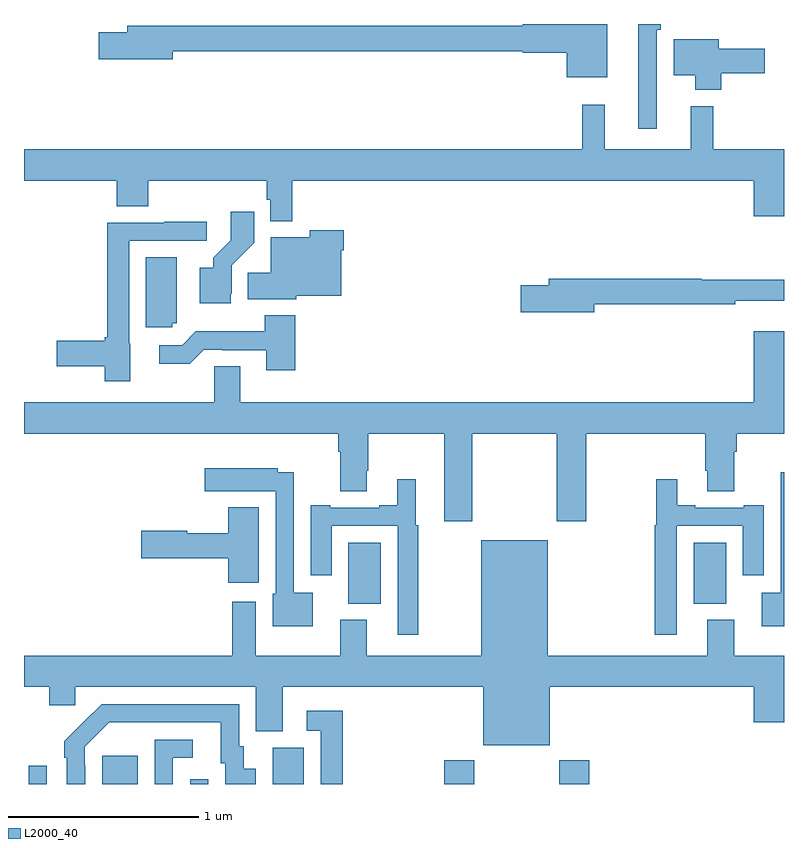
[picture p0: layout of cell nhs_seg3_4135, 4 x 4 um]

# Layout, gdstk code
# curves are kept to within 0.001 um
import gdstk
lib = gdstk.Library(unit=1e-6, precision=1e-09)
def R(c, l, rs):  # rectangles x0, y0, x1, y1
    for r in rs: c.add(gdstk.rectangle(r[:2], r[2:], *l))
def P(c, l, *ps):  # polygons
    for p in ps: c.add(gdstk.Polygon(p, *l))
L2000_40 = (2000, 40)

nhs_seg3_4135 = lib.new_cell('nhs_seg3_4135')
R(nhs_seg3_4135, L2000_40, [(329.025,704.4,329.121,704.497), (329.411,704.4,329.599,704.548), (329.874,704.4,329.97,704.425), (330.308,704.4,330.472,704.592), (331.211,704.4,331.371,704.524), (331.816,704.4,331.976,704.524), (330.707,705.35,330.877,705.67), (332.525,705.35,332.695,705.67)])
P(nhs_seg3_4135, L2000_40, [(332.071,708.4),(331.626,708.4),(331.626,708.392),(329.543,708.392),(329.543,708.356),(329.394,708.356),(329.394,708.214),(329.782,708.214),(329.782,708.256),(331.626,708.256),(331.626,708.248),(331.856,708.248),(331.856,708.119),(332.071,708.119)],
  [(332.331,708.371),(332.351,708.371),(332.351,708.4),(332.234,708.4),(332.234,707.85),(332.331,707.85)],
  [(332.669,708.142),(332.899,708.142),(332.899,708.271),(332.656,708.271),(332.656,708.319),(332.42,708.319),(332.42,708.131),(332.534,708.131),(332.534,708.053),(332.669,708.053)],
  [(330.413,707.576),(332.84,707.576),(332.84,707.388),(333,707.388),(333,707.74),(332.627,707.74),(332.627,707.968),(332.51,707.968),(332.51,707.74),(332.057,707.74),(332.057,707.974),(331.939,707.974),(331.939,707.74),(329,707.74),(329,707.576),(329.489,707.576),(329.489,707.44),(329.654,707.44),(329.654,707.576),(330.277,707.576),(330.277,707.475),(330.297,707.475),(330.297,707.363),(330.413,707.363)],
  [(330.088,706.98),(330.093,706.98),(330.093,707.131),(330.212,707.25),(330.212,707.413),(330.087,707.413),(330.087,707.261),(329.996,707.171),(329.996,707.116),(329.924,707.116),(329.924,706.931),(330.088,706.931)],
  [(329.56,706.716),(329.553,706.716),(329.553,707.259),(329.962,707.259),(329.962,707.358),(329.737,707.358),(329.737,707.355),(329.437,707.355),(329.437,706.751),(329.424,706.751),(329.424,706.733),(329.172,706.733),(329.172,706.598),(329.424,706.598),(329.424,706.52),(329.56,706.52)],
  [(330.432,706.97),(330.67,706.97),(330.67,707.21),(330.683,707.21),(330.683,707.314),(330.505,707.314),(330.505,707.278),(330.299,707.278),(330.299,707.09),(330.178,707.09),(330.178,706.952),(330.432,706.952)],
  [(329.781,706.824),(329.803,706.824),(329.803,707.173),(329.642,707.173),(329.642,706.803),(329.781,706.803)],
  [(332.002,706.924),(332.744,706.924),(332.744,706.943),(333,706.943),(333,707.053),(332.567,707.053),(332.567,707.06),(331.763,707.06),(331.763,707.024),(331.614,707.024),(331.614,706.882),(332.002,706.882)],
  [(330.428,706.867),(330.268,706.867),(330.268,706.783),(329.905,706.783),(329.832,706.71),(329.712,706.71),(329.712,706.613),(329.873,706.613),(329.946,706.686),(330.046,706.686),(330.046,706.683),(330.275,706.683),(330.275,706.578),(330.428,706.578)],
  [(331.359,706.244),(331.804,706.244),(331.804,705.783),(331.959,705.783),(331.959,706.244),(332.585,706.244),(332.585,706.048),(332.597,706.048),(332.597,705.94),(332.737,705.94),(332.737,706.148),(332.75,706.148),(332.75,706.244),(333,706.244),(333,706.783),(332.84,706.783),(332.84,706.408),(330.139,706.408),(330.139,706.598),(330,706.598),(330,706.408),(329,706.408),(329,706.244),(330.653,706.244),(330.653,706.148),(330.665,706.148),(330.665,705.94),(330.805,705.94),(330.805,706.048),(330.813,706.048),(330.813,706.244),(331.211,706.244),(331.211,705.783),(331.359,705.783)],
  [(330.52,705.406),(330.42,705.406),(330.42,706.04),(330.336,706.04),(330.336,706.063),(329.952,706.063),(329.952,705.941),(330.227,705.941),(330.227,705.942),(330.324,705.942),(330.324,705.402),(330.308,705.402),(330.308,705.23),(330.52,705.23)],
  [(333,706.04),(332.982,706.04),(332.982,705.406),(332.882,705.406),(332.882,705.23),(333,705.23)],
  [(332.436,705.759),(332.783,705.759),(332.783,705.498),(332.893,705.498),(332.893,705.868),(332.789,705.868),(332.789,705.855),(332.533,705.855),(332.533,705.868),(332.437,705.868),(332.437,706.003),(332.328,706.003),(332.328,705.762),(332.32,705.762),(332.32,705.186),(332.436,705.186)],
  [(331.075,705.762),(331.063,705.762),(331.063,706.003),(330.965,706.003),(330.965,705.868),(330.869,705.868),(330.869,705.855),(330.613,705.855),(330.613,705.868),(330.509,705.868),(330.509,705.498),(330.619,705.498),(330.619,705.759),(330.966,705.759),(330.966,705.186),(331.075,705.186)],
  [(330.235,705.856),(330.074,705.856),(330.074,705.721),(329.859,705.721),(329.859,705.734),(329.616,705.734),(329.616,705.587),(330.074,705.587),(330.074,705.459),(330.235,705.459)],
  [(331.768,704.912),(332.84,704.912),(332.84,704.724),(333,704.724),(333,705.076),(332.737,705.076),(332.737,705.265),(332.597,705.265),(332.597,705.076),(331.756,705.076),(331.756,705.682),(331.406,705.682),(331.406,705.076),(330.805,705.076),(330.805,705.265),(330.665,705.265),(330.665,705.076),(330.22,705.076),(330.22,705.358),(330.095,705.358),(330.095,705.076),(329,705.076),(329,704.912),(329.132,704.912),(329.132,704.814),(329.271,704.814),(329.271,704.912),(330.221,704.912),(330.221,704.677),(330.361,704.677),(330.361,704.912),(331.418,704.912),(331.418,704.603),(331.768,704.603)],
  [(329.322,704.495),(329.319,704.495),(329.319,704.595),(329.448,704.724),(330.035,704.724),(330.035,704.508),(330.059,704.508),(330.059,704.4),(330.22,704.4),(330.22,704.479),(330.157,704.479),(330.157,704.598),(330.132,704.598),(330.132,704.82),(329.408,704.82),(329.211,704.625),(329.211,704.537),(329.226,704.537),(329.226,704.4),(329.322,704.4)],
  [(330.677,704.785),(330.489,704.785),(330.489,704.679),(330.561,704.679),(330.561,704.4),(330.677,704.4)],
  [(329.784,704.538),(329.887,704.538),(329.887,704.634),(329.688,704.634),(329.688,704.4),(329.784,704.4)])

lib.write_gds('nhs_seg3_4135.gds')
